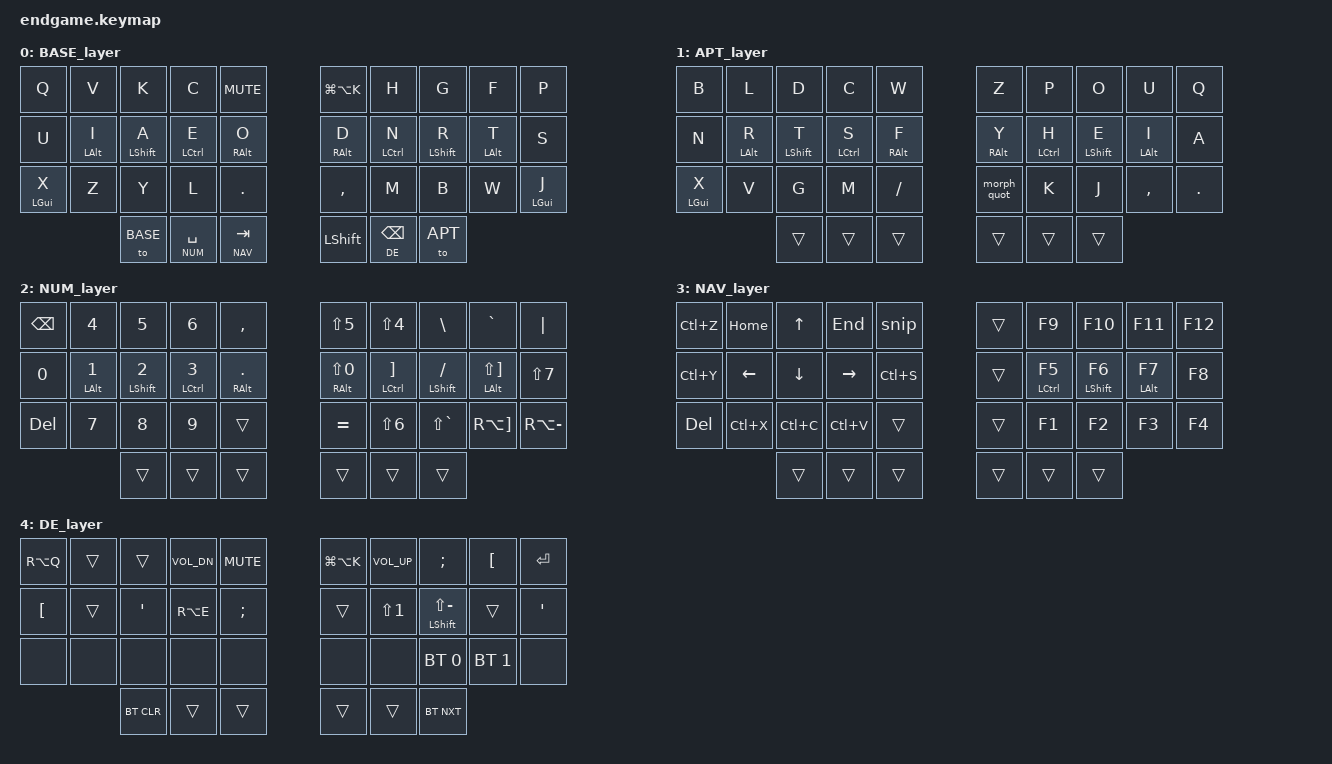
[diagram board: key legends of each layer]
 /*
 * Copyright (c) 2021 The ZMK Contributors
 *
 * SPDX-License-Identifier: MIT
 */

#include <behaviors.dtsi>
#include <dt-bindings/zmk/keys.h>
#include <dt-bindings/zmk/bt.h>
#include <dt-bindings/zmk/outputs.h>
//#include "keys_de.h"

#define BASE 0
#define APT  1
#define NUM  2
#define NAV  3
#define DE   4

#define COMBO(NAME, BINDINGS, KEYPOS, LAYERS) \
combo_##NAME { \
    timeout-ms = <50>; \
    bindings = <BINDINGS>; \
    key-positions = <KEYPOS>; \
    layers = <LAYERS>; \
};
#define MORPH(NAME, BIND1, BIND2, MODS) \
morph_##NAME: morph_##NAME {\
             compatible = "zmk,behavior-mod-morph";\
            #binding-cells = <0>;\
            bindings = <&kp BIND1>, <&kp BIND2>;\
            mods = <MODS>;\
         }; 


/ {
    chosen {
          zmk,battery = &vbatt;
    };

    vbatt: vbatt {
            compatible = "zmk,battery-nrf-vddh";
            display-name = "VBATT";
    };

    combos {
        compatible = "zmk,combos";
        COMBO(boot, &bootloader, 0 9, BASE)
        COMBO(shiftablesch, &macro_shiftable_sch, 17 18, BASE APT)
        COMBO(sfS,  &kp MINUS,      16 17,  BASE APT DE) // Scharf S ß
        COMBO(LT,   &kp NUBS,       21  22, BASE APT) // lower than
        COMBO(GT,   &kp LS(NUBS),   27  28, BASE APT) // greater than
        COMBO(TLD,  &kp RA(NUBS),   27  28, NUM) // Tilde
        COMBO(DOT,  &kp DOT,        11  12, BASE APT NUM)  
        COMBO(CMA,  &kp COMMA,      12  13, BASE APT NUM)
        COMBO(ESC,  &kp ESC,        10  1,  BASE APT NUM NAV DE)
        COMBO(SQT,  &kp LS(NUHS),   26  27, NUM  ) // Single quotes
        COMBO(DQT,  &kp LS(N2),     26  27, BASE APT)// Double quotes
        COMBO(ENT,  &kp ENTER,      7   8,  BASE APT NUM NAV DE)
        COMBO(ENT2, &kp ENTER,      1   2,  BASE APT NUM)
        COMBO(br1,  &macro_brc1,    22 23,  NUM)
        COMBO(br2,  &macro_brc2,    21 22,  NUM)
        COMBO(br3,  &macro_brc3,    20 21,  NUM)

    };
    macros {       
        snip: snip {
            compatible = "zmk,behavior-macro";
            #binding-cells = <0>;
            bindings = <&macro_press &kp LSHFT &kp LEFT_GUI
                        &macro_tap &kp S
                        &macro_release &kp LSHIFT &kp LEFT_GUI>;
            display-name = "SNIP";
        };
        macro_shiftable_sch: macro_shiftable_sch {
            display-name = "Macro_shiftable_sch";
            compatible = "zmk,behavior-macro";
            #binding-cells = <0>;
            bindings = <
                    &macro_tap &kp S
                    &macro_release &kp LSHIFT
                    &macro_tap &kp C &kp H
            >;
            tap-ms = <10>;
        };
        macro_brc1: macro_brc1 {
            display-name = "macro_brc1";
            compatible = "zmk,behavior-macro";
            #binding-cells = <0>;
            bindings = <
                    &macro_tap &kp LS(N8)
                    &macro_tap &kp LS(N9)
                    &macro_tap &kp LEFT
            >;
            tap-ms = <10>;
        };
        macro_brc2: macro_brc2 {
            display-name = "macro_brc2";
            compatible = "zmk,behavior-macro";
            #binding-cells = <0>;
            bindings = <
                    &macro_tap &kp RA(N8)
                    &macro_tap &kp RA(N9)
                    &macro_tap &kp LEFT
            >;
            tap-ms = <10>;
        };
        macro_brc3: macro_brc3 {
            display-name = "macro_brc3";
            compatible = "zmk,behavior-macro";
            #binding-cells = <0>;
            bindings = <
                    &macro_tap &kp RA(N7)
                    &macro_tap &kp RA(N0)
                    &macro_tap &kp LEFT
            >;
            tap-ms = <10>;
        };

        
    };

    behaviors {
        hl: homerow_mods_left {
            compatible = "zmk,behavior-hold-tap";
            display-name = "homerow mods left";
            #binding-cells = <2>;
            //flavor = "hold-preferred";
            // flavor = "tap-preferred";
            flavor = "balanced";
            tapping-term-ms = <250>;
            //quick-tap-ms = <100>;
            //hold-while-undecided;
            // global-quick-tap;
            bindings = <&kp>, <&kp>;
            // opposite side hand keys
            hold-trigger-key-positions = <5 6 7 8 9 15 16 17 18 19 25 26 27 28 29 30 31 32 33 34 35>;
        };
        hr: homerow_mods_right {
            compatible = "zmk,behavior-hold-tap";
            display-name = "homerow mods right";
            #binding-cells = <2>;
            //flavor = "hold-preferred";
            // flavor = "tap-preferred";
            flavor = "balanced";
            tapping-term-ms = <250>;
            //hold-while-undecided;
            //quick-tap-ms = <100>;
            // global-quick-tap;
            bindings = <&kp>, <&kp>;
            // opposite side hand keys
            hold-trigger-key-positions = <0 1 2 3 4 10 11 12 13 14 20 21 22 23 24 30 31 32 33 34 35>;
        };
        lt_wr: layer_toggle_write {
            compatible = "zmk,behavior-hold-tap";
            #binding-cells = <2>;
            flavor = "hold-preferred";
            tapping-term-ms = <200>;
            bindings = <&mo>, <&kp>;
            display-name = "Layer-Toggle writing";
        };
        
        morph_quot: morph_quot {
            compatible = "zmk,behavior-mod-morph";
            #binding-cells = <0>;
            bindings = <&kp LS(N2)>, <&kp LS(NUHS)>;
            mods = <(MOD_LSFT)>;
        };
        
        //MORPH(oe,   o, SEMI, (MOD_RALT))
        //MORPH(ue,   u, LBKT, (MOD_RALT))
        //MORPH(ae,   a, SQT, (MOD_RALT))
               
       
    };

    keymap {
        compatible = "zmk,keymap";
        // ------------------------------------------------------------------------------------------------------
// |    0    |    1    |    2    |    3    |    4    |    5    |    6    |    7    |    8    |    9    |
// |   10    |   11    |   12    |   13    |   14    |   15    |   16    |   17    |   18    |   19    |
// |   20    |   21    |   22    |   23    |   24    |   25    |   26    |   27    |   28    |   29    |
// |   30    |                   |   31    |   32    |   33    |   34    |                   |   35    |

        BASE_layer {
            bindings = <
                &kp Q       &kp V        &kp K          &kp C           &kp C_MUTE  &kp LG(LA(K))    &kp H      &kp G       &kp F       &kp P
                &kp U       &hl LALT I   &hl LSHFT A    &hl LCTRL E     &hl RALT O  &hr RALT D      &hr LCTRL N &hr LSHFT R &hr LALT T  &kp S
                &hl LGUI X  &kp Z        &kp Y          &kp L           &kp DOT     &kp COMMA       &kp M       &kp B       &kp W       &hr LGUI J
                &to BASE                                &lt NUM SPACE   &lt NAV TAB &kp LSHIFT      &lt_wr DE BSPC                      &to APT
                        >;
        };
        APT_layer {
            bindings = <
                &kp B       &kp L        &kp D          &kp C           &kp W       &kp  Z      &kp P       &kp O       &kp U       &kp Q
                &kp N       &hl LALT R   &hl LSHFT T    &hl LCTRL S     &hl RALT F  &hr RALT Y  &hr LCTRL H &hr LSHFT E &hr LALT I  &kp A
                &hl LGUI X  &kp V        &kp G          &kp M           &kp SLASH   &morph_quot &kp K       &kp J       &kp COMMA   &kp DOT
                &trans                                  &trans          &trans      &trans      &trans                              &trans
                        >;
        };


        NUM_layer {
            bindings = <
                &kp BSPC   &kp N4        &kp N5           &kp N6           &kp COMMA      &kp LS(N5)         &kp LS(N4)     &kp BSLH        &kp GRAVE         &kp PIPE
                &kp N0     &hl LALT N1   &hl LSHFT N2     &hl LCTRL N3     &hl RALT DOT   &hr RALT LS(N0)    &hr LCTRL RBKT &hr LSHFT SLASH &hr LALT LS(RBKT) &kp LS(N7)
                &kp DEL    &kp N7        &kp N8           &kp N9           &trans         &kp EQUAL          &kp LS(N6)     &kp LS(GRAVE)   &kp RA(RBKT)      &kp RA(MINUS) 
                                        &trans        &trans        &trans       &trans       &trans &trans
            >;
        };

        

        NAV_layer {
            bindings = <
                &kp LC(Z)   &kp HOME     &kp UP        &kp END        &snip        &trans       &kp F9        &kp F10       &kp F11     &kp F12
                &kp LC(Y)   &kp LEFT     &kp DOWN      &kp RIGHT      &kp LC(S)    &trans       &hr LCTRL F5  &hr LSHFT F6  &hr LALT F7 &kp F8
                &kp DEL     &kp LC(X)    &kp LC(C)     &kp LC(V)      &trans       &trans       &kp F1        &kp F2        &kp F3      &kp F4
                                     &trans     &trans   &trans         &trans          &trans      &trans
            >;
        };
        DE_layer {
            bindings = <
                &kp RA(Q) &trans       &trans       &kp C_VOL_DN &kp C_MUTE &kp LG(LA(K)) &kp C_VOL_UP   &kp SEMI             &kp LBKT     &kp ENTER
                &kp LBKT  &trans       &kp SQT      &kp RA(E)    &kp SEMI   &trans        &kp LS(N1)     &hr LSHIFT LS(MINUS) &trans       &kp SQT
                &none     &none        &none        &none        &none      &none         &none          &bt BT_SEL 0         &bt BT_SEL 1 &none
                 &bt BT_CLR                         &trans       &trans     &trans        &trans                              &bt BT_NXT
            >;
        };
    };
};
